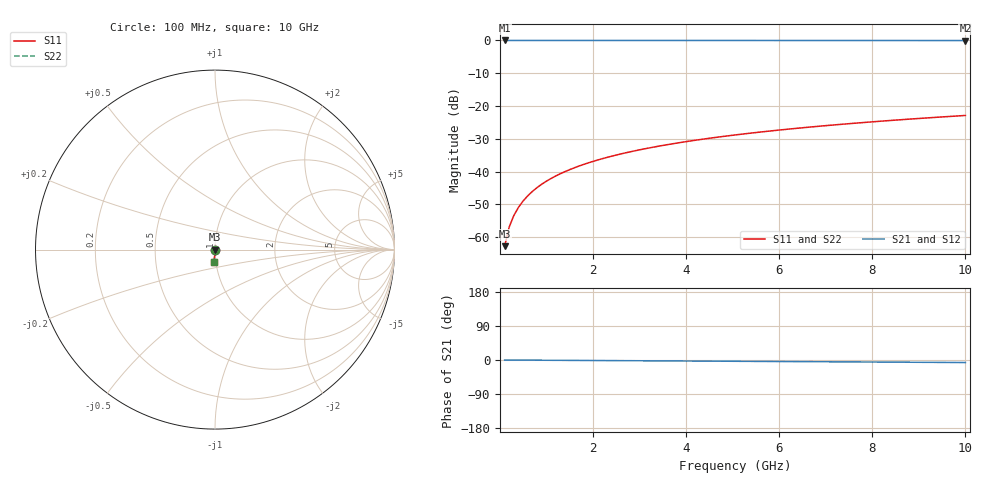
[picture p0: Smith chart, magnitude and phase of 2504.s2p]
# Hz S RI R 50.00
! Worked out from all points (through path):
!   100 points, 100 MHz to 10 GHz, reference 50 ohm
!   highest |S21| = 0.00 dB at 100 MHz (marker M1); lowest = 0.0 dB at 10 GHz (marker M2)
!   lowest |S11| = -62.8 dB at 100 MHz (marker M3), VSWR 1.00, Z = 50 - j0.0715 ohm
!   |S11| at or under -10 dB: start of sweep to end of sweep
!   |S22| runs from -62.8 to -22.9 dB; largest |S21 - S12| = 1e-12
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1e8  0.00014 -0.000715  0.9999 -0.00116  0.9999 -0.00116  0.00014 -0.000715
2e8  0.000137 -0.00143  0.9999 -0.00232  0.9999 -0.00232  0.000137 -0.00143
3e8  0.000133 -0.00214  0.9998 -0.00348  0.9998 -0.00348  0.000133 -0.00214
4e8  0.000127 -0.00286  0.9998 -0.00464  0.9998 -0.00464  0.000127 -0.00286
5e8  0.000119 -0.00357  0.9998 -0.0058  0.9998 -0.0058  0.000119 -0.00357
6e8  0.00011 -0.00429  0.9998 -0.00696  0.9998 -0.00696  0.00011 -0.00429
7e8  9.83e-05 -0.005  0.9998 -0.00812  0.9998 -0.00812  9.83e-05 -0.005
8e8  8.53e-05 -0.00572  0.9998 -0.00928  0.9998 -0.00928  8.53e-05 -0.00572
9e8  7.06e-05 -0.00643  0.9998 -0.0104  0.9998 -0.0104  7.06e-05 -0.00643
1.1e9  3.63e-05 -0.00786  0.9997 -0.0128  0.9997 -0.0128  3.63e-05 -0.00786
1.4e9  -2.78e-05 -0.01  0.9997 -0.0163  0.9997 -0.0163  -2.78e-05 -0.01
1.8e9  -0.000137 -0.0129  0.9995 -0.0209  0.9995 -0.0209  -0.000137 -0.0129
2.1e9  -0.000236 -0.015  0.9994 -0.0244  0.9994 -0.0244  -0.000236 -0.015
2.5e9  -0.000392 -0.0179  0.9992 -0.029  0.9992 -0.029  -0.000392 -0.0179
2.9e9  -0.000574 -0.0207  0.999 -0.0337  0.999 -0.0337  -0.000574 -0.0207
3.4e9  -0.00084 -0.0243  0.9987 -0.0395  0.9987 -0.0395  -0.00084 -0.0243
4.2e9  -0.00135 -0.03  0.9982 -0.0488  0.9982 -0.0488  -0.00135 -0.03
5.1e9  -0.00206 -0.0365  0.9974 -0.0592  0.9974 -0.0592  -0.00206 -0.0365
5.9e9  -0.0028 -0.0422  0.9965 -0.0685  0.9965 -0.0685  -0.0028 -0.0422
6.7e9  -0.00365 -0.0479  0.9956 -0.0778  0.9956 -0.0778  -0.00365 -0.0479
8.4e9  -0.00581 -0.06  0.9932 -0.0976  0.9932 -0.0976  -0.00581 -0.06
1e10  -0.00828 -0.0713  0.9904 -0.1161  0.9904 -0.1161  -0.00828 -0.0713
